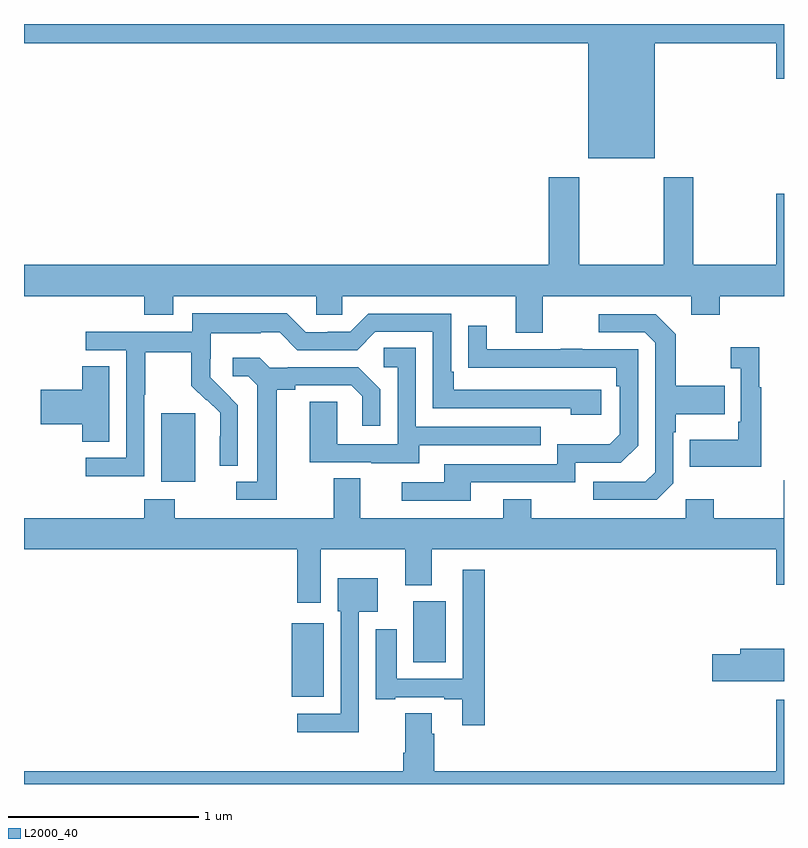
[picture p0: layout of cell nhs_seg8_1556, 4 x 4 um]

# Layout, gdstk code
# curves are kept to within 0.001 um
import gdstk
lib = gdstk.Library(unit=1e-6, precision=1e-09)
def R(c, l, rs):  # rectangles x0, y0, x1, y1
    for r in rs: c.add(gdstk.rectangle(r[:2], r[2:], *l))
def P(c, l, *ps):  # polygons
    for p in ps: c.add(gdstk.Polygon(p, *l))
L2000_40 = (2000, 40)

nhs_seg8_1556 = lib.new_cell('nhs_seg8_1556')
R(nhs_seg8_1556, L2000_40, [(210.41,1146.359,210.577,1146.745), (211.049,1146.542,211.219,1146.862), (209.723,1147.49,209.902,1147.851)])
P(nhs_seg8_1556, L2000_40, [(212.32,1149.8),(212.96,1149.8),(212.96,1149.612),(213,1149.612),(213,1149.9),(209,1149.9),(209,1149.8),(211.97,1149.8),(211.97,1149.194),(212.32,1149.194)],
  [(209,1148.468),(209.633,1148.468),(209.633,1148.369),(209.785,1148.369),(209.785,1148.468),(210.537,1148.468),(210.537,1148.37),(210.675,1148.37),(210.675,1148.468),(211.589,1148.468),(211.589,1148.274),(211.729,1148.274),(211.729,1148.468),(212.513,1148.468),(212.513,1148.369),(212.661,1148.369),(212.661,1148.468),(213,1148.468),(213,1149.007),(212.96,1149.007),(212.96,1148.632),(212.523,1148.632),(212.523,1149.094),(212.368,1149.094),(212.368,1148.632),(211.923,1148.632),(211.923,1149.094),(211.763,1149.094),(211.763,1148.632),(209,1148.632)],
  [(209.634,1147.948),(209.637,1147.948),(209.637,1148.172),(209.881,1148.172),(209.881,1147.997),(209.958,1147.92),(209.961,1147.923),(210.032,1147.853),(210.032,1147.73),(210.03,1147.73),(210.03,1147.576),(210.126,1147.576),(210.126,1147.894),(209.98,1148.042),(209.98,1148.139),(209.982,1148.139),(209.982,1148.273),(210.245,1148.273),(210.245,1148.277),(210.345,1148.277),(210.438,1148.184),(210.753,1148.184),(210.849,1148.28),(211.152,1148.28),(211.152,1147.878),(211.877,1147.878),(211.877,1147.844),(212.038,1147.844),(212.038,1147.974),(211.261,1147.974),(211.261,1148.071),(211.248,1148.071),(211.248,1148.376),(210.813,1148.376),(210.717,1148.28),(210.599,1148.28),(210.599,1148.277),(210.483,1148.277),(210.383,1148.377),(209.886,1148.377),(209.886,1148.28),(209.325,1148.28),(209.325,1148.184),(209.538,1148.184),(209.538,1147.617),(209.325,1147.617),(209.325,1147.519),(209.634,1147.519)],
  [(212.418,1147.482),(212.418,1147.751),(212.431,1147.751),(212.431,1147.847),(212.687,1147.847),(212.687,1147.995),(212.431,1147.995),(212.431,1148.267),(212.325,1148.373),(212.025,1148.373),(212.025,1148.277),(212.268,1148.277),(212.322,1148.223),(212.322,1147.542),(212.271,1147.491),(211.995,1147.491),(211.995,1147.395),(212.331,1147.395)],
  [(211.351,1147.488),(211.902,1147.488),(211.902,1147.59),(212.142,1147.59),(212.232,1147.68),(212.232,1148.187),(211.937,1148.187),(211.937,1148.192),(211.825,1148.192),(211.825,1148.187),(211.435,1148.187),(211.435,1148.311),(211.339,1148.311),(211.339,1148.092),(212.116,1148.091),(212.116,1147.994),(212.136,1147.994),(212.136,1147.74),(212.083,1147.687),(211.806,1147.687),(211.806,1147.584),(211.211,1147.584),(211.211,1147.488),(210.987,1147.488),(210.987,1147.392),(211.351,1147.392)],
  [(212.881,1147.987),(212.869,1147.987),(212.869,1148.2),(212.721,1148.2),(212.721,1148.087),(212.772,1148.087),(212.772,1147.807),(212.76,1147.807),(212.76,1147.711),(212.503,1147.711),(212.503,1147.571),(212.881,1147.571)],
  [(211.081,1147.683),(211.721,1147.683),(211.721,1147.779),(211.062,1147.779),(211.062,1148.195),(210.894,1148.195),(210.894,1148.094),(210.966,1148.094),(210.966,1147.689),(210.648,1147.689),(210.648,1147.913),(210.503,1147.913),(210.503,1147.593),(210.827,1147.593),(210.827,1147.589),(211.081,1147.589)],
  [(210.331,1147.976),(210.427,1147.976),(210.427,1147.998),(210.722,1147.998),(210.779,1147.941),(210.779,1147.785),(210.876,1147.785),(210.876,1147.978),(210.76,1148.094),(210.388,1148.094),(210.388,1148.091),(210.294,1148.091),(210.242,1148.143),(210.099,1148.143),(210.099,1148.046),(210.18,1148.046),(210.227,1147.999),(210.227,1147.491),(210.117,1147.491),(210.117,1147.395),(210.331,1147.395)],
  [(209.449,1148.099),(209.306,1148.099),(209.306,1147.976),(209.088,1147.976),(209.088,1147.793),(209.306,1147.793),(209.306,1147.702),(209.449,1147.702)],
  [(210.562,1147.136),(211.007,1147.136),(211.007,1146.947),(211.147,1146.947),(211.147,1147.136),(212.96,1147.136),(212.96,1146.948),(213,1146.948),(213,1147.499),(212.998,1147.499),(212.998,1147.3),(212.631,1147.3),(212.631,1147.399),(212.484,1147.399),(212.484,1147.3),(211.671,1147.3),(211.671,1147.399),(211.523,1147.399),(211.523,1147.3),(210.769,1147.3),(210.769,1147.508),(210.629,1147.508),(210.629,1147.3),(209.793,1147.3),(209.793,1147.399),(209.633,1147.399),(209.633,1147.3),(209,1147.3),(209,1147.136),(210.437,1147.136),(210.437,1146.855),(210.562,1146.855)],
  [(211.424,1147.027),(211.308,1147.027),(211.308,1146.453),(210.961,1146.453),(210.961,1146.715),(210.851,1146.715),(210.851,1146.345),(210.955,1146.345),(210.955,1146.357),(211.211,1146.357),(211.211,1146.345),(211.307,1146.345),(211.307,1146.21),(211.424,1146.21)],
  [(210.762,1146.806),(210.862,1146.806),(210.862,1146.982),(210.65,1146.982),(210.65,1146.81),(210.666,1146.81),(210.666,1146.27),(210.438,1146.27),(210.438,1146.173),(210.762,1146.173)],
  [(213,1146.613),(212.771,1146.613),(212.771,1146.584),(212.622,1146.584),(212.622,1146.442),(213,1146.442)],
  [(213,1146.343),(212.96,1146.343),(212.96,1145.968),(211.16,1145.968),(211.16,1146.164),(211.147,1146.164),(211.147,1146.272),(211.007,1146.272),(211.007,1146.064),(210.995,1146.064),(210.995,1145.968),(209,1145.968),(209,1145.9),(213,1145.9)])

lib.write_gds('nhs_seg8_1556.gds')
